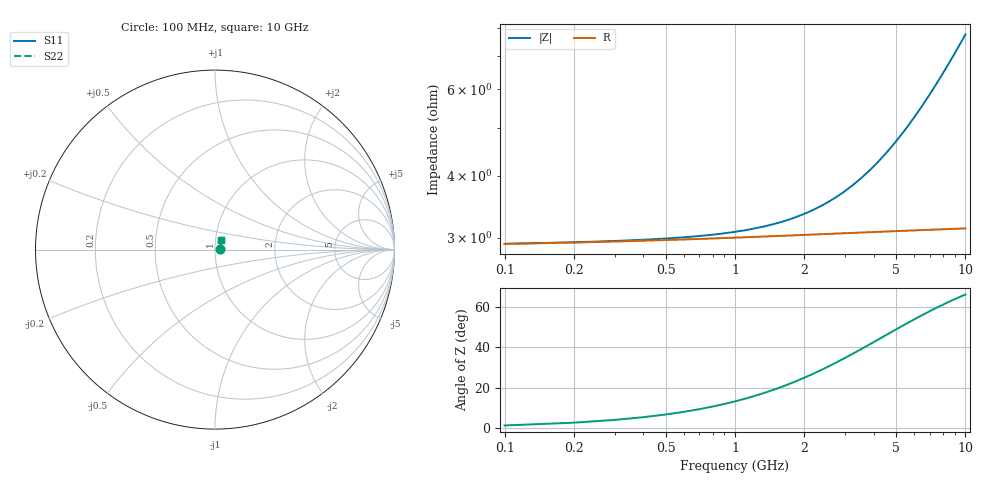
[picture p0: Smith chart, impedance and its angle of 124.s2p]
# Hz S RI R 50.00
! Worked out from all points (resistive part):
!   100 points, 100 MHz to 10 GHz, reference 50 ohm
!   read as one part in series: R = 2.91 ohm at 100 MHz
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1e8  0.0283 0.000563  0.9717 -0.000776  0.9717 -0.000776  0.0283 0.000563
2e8  0.0285 0.00112  0.9715 -0.00155  0.9715 -0.00155  0.0285 0.00112
3e8  0.0286 0.00169  0.9714 -0.00233  0.9714 -0.00233  0.0286 0.00169
8e8  0.029 0.00449  0.971 -0.0062  0.971 -0.0062  0.029 0.00449
1.1e9  0.0292 0.00618  0.9708 -0.00853  0.9708 -0.00853  0.0292 0.00618
1.4e9  0.0294 0.00786  0.9706 -0.0108  0.9706 -0.0108  0.0294 0.00786
1.6e9  0.0295 0.00898  0.9705 -0.0124  0.9705 -0.0124  0.0295 0.00898
1.8e9  0.0296 0.0101  0.9704 -0.0139  0.9704 -0.0139  0.0296 0.0101
2.1e9  0.0297 0.0118  0.9703 -0.0163  0.9703 -0.0163  0.0297 0.0118
2.5e9  0.0299 0.014  0.9701 -0.0194  0.9701 -0.0194  0.0299 0.014
2.9e9  0.0301 0.0163  0.9699 -0.0225  0.9699 -0.0225  0.0301 0.0163
3.4e9  0.0303 0.019  0.9697 -0.0263  0.9697 -0.0263  0.0303 0.019
4e9  0.0306 0.0224  0.9694 -0.0309  0.9694 -0.0309  0.0306 0.0224
5.1e9  0.0312 0.0285  0.9688 -0.0394  0.9688 -0.0394  0.0312 0.0285
6e9  0.0317 0.0335  0.9682 -0.0464  0.9682 -0.0464  0.0317 0.0335
6.7e9  0.0322 0.0374  0.9677 -0.0518  0.9677 -0.0518  0.0322 0.0374
7.2e9  0.0325 0.0402  0.9673 -0.0556  0.9673 -0.0556  0.0325 0.0402
7.6e9  0.0328 0.0424  0.967 -0.0587  0.967 -0.0587  0.0328 0.0424
8.4e9  0.0334 0.0469  0.9664 -0.0648  0.9664 -0.0648  0.0334 0.0469
8.8e9  0.0338 0.0491  0.966 -0.0679  0.966 -0.0679  0.0338 0.0491
9.2e9  0.0341 0.0513  0.9657 -0.0709  0.9657 -0.0709  0.0341 0.0513
1e10  0.0348 0.0557  0.9649 -0.0771  0.9649 -0.0771  0.0348 0.0557
